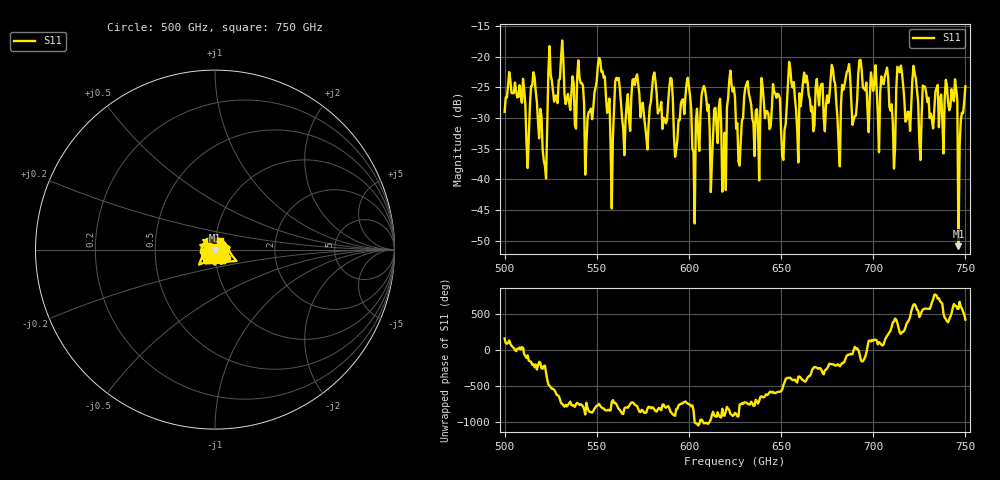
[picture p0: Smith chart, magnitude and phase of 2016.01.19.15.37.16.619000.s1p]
!Created with skrf (http://scikit-rf.org).
# GHz S RI R 50.0
!freq ReS11 ImS11
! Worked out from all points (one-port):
!   401 points, 500 GHz to 750 GHz, reference 50 ohm
!   lowest |S11| = -50.9 dB at 746.2 GHz (marker M1), VSWR 1.01, Z = 49.7 - j0.133 ohm
!   |S11| at or under -10 dB: start of sweep to end of sweep
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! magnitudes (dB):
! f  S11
! 500 GHz  -29.0
! 512.5 GHz  -38.2
! 515.6 GHz  -22.6
! 521.9 GHz  -37.8
! 525 GHz  -23.0
! 531.2 GHz  -17.4
! 545 GHz  -30.1
! 551.9 GHz  -20.6
! 557.5 GHz  -34.4
! 562.5 GHz  -25.1
! 590 GHz  -23.5
! 593.8 GHz  -33.5
! 599.4 GHz  -23.4
! 604.4 GHz  -28.5
! 608.1 GHz  -24.8
! 618.8 GHz  -37.6
! 621.9 GHz  -24.0
! 625 GHz  -26.7
! 651.2 GHz  -36.8
! 656.2 GHz  -25.0
! 687.5 GHz  -23.4
! 706.9 GHz  -22.6
! 710.6 GHz  -30.9
! 714.4 GHz  -22.6
! 718.8 GHz  -29.0
! 743.8 GHz  -27.3
! 746.2 GHz  -50.9
! 750 GHz  -24.8
